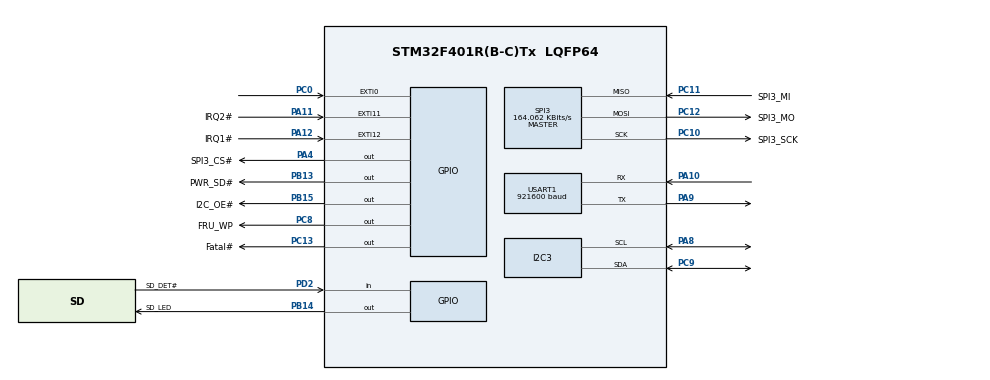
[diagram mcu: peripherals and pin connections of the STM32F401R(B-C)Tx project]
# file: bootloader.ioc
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Mcu.Family=STM32F4
Mcu.Name=STM32F401R(B-C)Tx
Mcu.Package=LQFP64
NVIC.EXTI15_10_IRQn=true\:6\:0\:true\:false\:true\:true\:true\:true
NVIC.I2C3_ER_IRQn=true\:0\:0\:false\:false\:true\:true\:true\:true
NVIC.I2C3_EV_IRQn=true\:0\:0\:false\:false\:true\:true\:true\:true
NVIC.PriorityGroup=NVIC_PRIORITYGROUP_4
PA0-WKUP.GPIO_Label=M1_A
PA0-WKUP.GPIO_PuPd=GPIO_PULLUP
PA0-WKUP.Signal=S_TIM5_CH1
PA1.GPIO_Label=M1_B
PA1.GPIO_PuPd=GPIO_PULLUP
PA1.Signal=S_TIM5_CH2
PA10.Mode=Asynchronous
PA10.Signal=USART1_RX
PA11.GPIO_Label=IRQ2\#
PA11.GPIO_ModeDefaultEXTI=GPIO_MODE_IT_FALLING
PA11.Signal=GPXTI11
PA12.GPIO_Label=IRQ1\#
PA12.GPIO_ModeDefaultEXTI=GPIO_MODE_IT_FALLING
PA12.Signal=GPXTI12
PA13.Mode=Serial_Wire
PA13.Signal=SYS_JTMS-SWDIO
PA14.Mode=Serial_Wire
PA14.Signal=SYS_JTCK-SWCLK
PA15.GPIO_Label=M3_PWM
PA15.GPIO_PuPd=GPIO_PULLDOWN
PA15.Signal=S_TIM2_CH1_ETR
PA3.GPIO_Label=M6_PWM
PA3.GPIO_PuPd=GPIO_PULLDOWN
PA3.Signal=S_TIM2_CH4
PA4.GPIO_Label=SPI3_CS\#
PA4.PinState=GPIO_PIN_SET
PA4.Signal=GPIO_Output
PA6.Signal=ADCx_IN6
PA8.Mode=I2C
PA8.Signal=I2C3_SCL
PA9.Mode=Asynchronous
PA9.Signal=USART1_TX
PB0.Signal=ADCx_IN8
PB1.GPIO_Label=FAN_PWM
PB1.GPIO_PuPd=GPIO_PULLDOWN
PB1.Signal=TIM1_CH3N
PB10.GPIO_Label=M5_PWM
PB10.GPIO_PuPd=GPIO_PULLDOWN
PB10.Signal=S_TIM2_CH3
PB13.GPIO_Label=PWR_SD\#
PB13.GPIO_PuPd=GPIO_NOPULL
PB13.Signal=GPIO_Output
PB14.GPIO_Label=SD_LED
PB14.Signal=GPIO_Output
PB15.GPIO_Label=I2C_OE\#
PB15.Signal=GPIO_Output
PB3.GPIO_Label=M4_PWM
PB3.GPIO_PuPd=GPIO_PULLDOWN
PB3.Signal=S_TIM2_CH2
PB4.GPIO_Label=M2_A
PB4.GPIO_PuPd=GPIO_PULLUP
PB4.Signal=S_TIM3_CH1
PB5.GPIO_Label=M2_B
PB5.GPIO_PuPd=GPIO_PULLUP
PB5.Signal=S_TIM3_CH2
PB6.GPIO_Label=M1_PWM
PB6.GPIO_PuPd=GPIO_PULLDOWN
PB6.Signal=S_TIM4_CH1
PB7.GPIO_PuPd=GPIO_PULLDOWN
PB7.Signal=S_TIM4_CH2
PB8.GPIO_Label=M2_PWM
PB8.GPIO_PuPd=GPIO_PULLDOWN
PB8.Signal=S_TIM4_CH3
PC0.Signal=GPXTI0
PC10.GPIO_Label=SPI3_SCK
PC10.Mode=Full_Duplex_Master
PC10.Signal=SPI3_SCK
PC11.GPIO_Label=SPI3_MI
PC11.Mode=Full_Duplex_Master
PC11.Signal=SPI3_MISO
PC12.GPIO_Label=SPI3_MO
PC12.Mode=Full_Duplex_Master
PC12.Signal=SPI3_MOSI
PC13-ANTI_TAMP.GPIO_Label=Fatal\#
PC13-ANTI_TAMP.Signal=GPIO_Output
PC14-OSC32_IN.Mode=LSE-External-Oscillator
PC14-OSC32_IN.Signal=RCC_OSC32_IN
PC15-OSC32_OUT.Mode=LSE-External-Oscillator
PC15-OSC32_OUT.Signal=RCC_OSC32_OUT
PC3.Signal=ADCx_IN13
PC4.Signal=ADCx_IN14
PC5.Signal=ADCx_IN15
PC8.GPIO_Label=FRU_WP
PC8.Signal=GPIO_Output
PC9.Mode=I2C
PC9.Signal=I2C3_SDA
PD2.GPIO_Label=SD_DET\#
PD2.GPIO_PuPd=GPIO_PULLUP
PD2.Signal=GPIO_Input
PH0\ -\ OSC_IN.Mode=HSE-External-Clock-Source
PH0\ -\ OSC_IN.Signal=RCC_OSC_IN
PH1\ -\ OSC_OUT.Mode=HSE-External-Clock-Source
PH1\ -\ OSC_OUT.Signal=RCC_OSC_OUT
ProjectManager.HeapSize=0x400
ProjectManager.StackSize=0x800
ProjectManager.TargetToolchain=CMake
RCC.48MHZClocksFreq_Value=48000000
RCC.AHBFreq_Value=84000000
RCC.APB1CLKDivider=RCC_HCLK_DIV2
RCC.APB1Freq_Value=42000000
RCC.APB1TimFreq_Value=84000000
RCC.APB2Freq_Value=84000000
RCC.APB2TimFreq_Value=84000000
RCC.CortexFreq_Value=84000000
RCC.HCLKFreq_Value=84000000
RCC.HSE_VALUE=8000000
RCC.HSI_VALUE=16000000
RCC.PLLM=8
RCC.PLLN=336
RCC.PLLP=RCC_PLLP_DIV4
RCC.PLLQ=7
RCC.PLLSourceVirtual=RCC_PLLSOURCE_HSE
RCC.RCC_RTC_Clock_Source=RCC_RTCCLKSOURCE_LSE
RCC.RCC_RTC_Clock_SourceVirtual=RCC_RTCCLKSOURCE_LSE
RCC.SYSCLKFreq_VALUE=84000000
RCC.SYSCLKSource=RCC_SYSCLKSOURCE_PLLCLK
RCC.VCOOutputFreq_Value=336000000
SH.ADCx_IN13.0=ADC1_IN13
SH.ADCx_IN14.0=ADC1_IN14
SH.ADCx_IN15.0=ADC1_IN15
SH.ADCx_IN6.0=ADC1_IN6
SH.ADCx_IN8.0=ADC1_IN8
SH.S_TIM2_CH1_ETR.0=TIM2_CH1
SH.S_TIM2_CH2.0=TIM2_CH2
SH.S_TIM2_CH3.0=TIM2_CH3
SH.S_TIM2_CH4.0=TIM2_CH4
SH.S_TIM3_CH1.0=TIM3_CH1
SH.S_TIM3_CH2.0=TIM3_CH2
SH.S_TIM4_CH1.0=TIM4_CH1
SH.S_TIM4_CH2.0=TIM4_CH2
SH.S_TIM4_CH3.0=TIM4_CH3
SH.S_TIM5_CH1.0=TIM5_CH1
SH.S_TIM5_CH2.0=TIM5_CH2
SPI3.BaudRatePrescaler=SPI_BAUDRATEPRESCALER_256
SPI3.CLKPhase=SPI_PHASE_2EDGE
SPI3.CLKPolarity=SPI_POLARITY_HIGH
SPI3.CalculateBaudRate=164.062 KBits/s
SPI3.Direction=SPI_DIRECTION_2LINES
SPI3.Mode=SPI_MODE_MASTER
SPI3.VirtualType=VM_MASTER
USART1.BaudRate=921600
USART1.VirtualMode=VM_ASYNC
VP_FATFS_VS_Generic.Mode=User_defined
board=custom

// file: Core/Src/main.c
/* USER CODE BEGIN Header */
/**
  ******************************************************************************
  * @file           : main.c
  * @brief          : Main program body
  ******************************************************************************
  * @attention
  *
  * Copyright (c) 2025 STMicroelectronics.
  * All rights reserved.
  *
  * This software is licensed under terms that can be found in the LICENSE file
  * in the root directory of this software component.
  * If no LICENSE file comes with this software, it is provided AS-IS.
  *
  ******************************************************************************
  */
/* USER CODE END Header */
#include "main.h"
#include "fatfs.h"
#include "i2c.h"
#include "spi.h"
#include "usart.h"
#include "gpio.h"

/* USER CODE BEGIN Includes */
#include <string.h>
#include "mbedtls/pk.h"
#include "mbedtls/ecdsa.h"
#include "mbedtls/ecp.h"
#include "mbedtls/sha256.h"
#include "mbedtls/md.h"
/* USER CODE END Includes */

/* USER CODE BEGIN PTD */
typedef void (*pFunction)(void);
typedef struct {
  uint32_t SectorAddress;
  uint32_t SectorSize;
} FlashSectorInfo;
/* USER CODE END PTD */

/* USER CODE BEGIN PD */
#define USER_APP_ADDRESS    0x08020000
#define READ_BUFFER_SIZE    0x1000  // 4KB
#define FW_UPDATE_FILE_NAME "app.bin"

#define SECTOR_COUNT (uint32_t)(sizeof(stm32F4SectorMap) / sizeof(FlashSectorInfo))
/* USER CODE END PD */

/* USER CODE BEGIN PV */
extern FATFS USERFatFS;
extern char USERPath[4];
const FlashSectorInfo stm32F4SectorMap[] = {
  {0x08000000, 0x04000},
  {0x08004000, 0x04000},
  {0x08008000, 0x04000},
  {0x0800C000, 0x04000},
  {0x08010000, 0x10000},
  {0x08020000, 0x20000},
  {0x08040000, 0x20000},
  {0x08060000, 0x20000},
  {0x08080000, 0x20000},
  {0x080A0000, 0x20000},
  {0x080C0000, 0x20000},
  {0x080E0000, 0x20000},
};
/* USER CODE END PV */

void SystemClock_Config(void);
/* USER CODE BEGIN PFP */
HAL_StatusTypeDef UpdateFW(void);
void Test_ECDSA_Verify(void);
/* USER CODE END PFP */

int main(void)
{

  /* MCU Configuration--------------------------------------------------------*/

  /* Reset of all peripherals, Initializes the Flash interface and the Systick. */
  HAL_Init();

  /* Configure the system clock */
  SystemClock_Config();

  /* Initialize all configured peripherals */
  MX_GPIO_Init();
  MX_I2C3_Init();
  MX_USART1_UART_Init();
  MX_SPI3_Init();
  MX_FATFS_Init();
  /* USER CODE BEGIN 2 */
  printf("bootloader %s Start, Build@%s [%s]\r\n", __func__, __DATE__, __TIME__);
  Test_ECDSA_Verify();
  if(LL_GPIO_IsInputPinSet(SD_DET__GPIO_Port, SD_DET__Pin) == 0){
    UpdateFW();
  }else{
    printf("SD card not detected\r\n");
  }

  __disable_irq();
  if (((*(__IO uint32_t*)USER_APP_ADDRESS) & 0x2FFE0000 ) == 0x20000000)
  {
    pFunction application;
    printf("MSP: 0x%08lX\r\n", *(uint32_t*)USER_APP_ADDRESS);
    printf("ResetHandler: 0x%08lX\r\n", *(uint32_t*)(USER_APP_ADDRESS + 4));
    printf("Execute user Program\r\n");
    HAL_SPI_MspDeInit(&hspi3);
    LL_GPIO_DeInit(GPIOC);
    LL_GPIO_DeInit(GPIOH);
    LL_GPIO_DeInit(GPIOA);
    LL_GPIO_DeInit(GPIOB);
    LL_GPIO_DeInit(GPIOD);
    HAL_UART_MspDeInit(&huart1);
    LL_RCC_DeInit();

    // __set_BASEPRI (0x20);
    // __set_PRIMASK (1);
    // __set_FAULTMASK (1);
    // for(uint8_t i=0; i<8; i++){
    //   NVIC->ICER [i] =0xFFFFFFFF;
    //   NVIC->ICPR [i] =0xFFFFFFFF;
    // }
    // SysTick->CTRL = 0;
    // SysTick->LOAD = 0;
    // SysTick->VAL = 0;
    // __set_BASEPRI (0);
    // __set_PRIMASK (0);
    // __set_FAULTMASK (0);

    __set_CONTROL(0);
    __set_MSP(*(__IO uint32_t*) USER_APP_ADDRESS);
    __ISB();
    application = (pFunction) * (__IO uint32_t*) (USER_APP_ADDRESS + 4);
    application();
  }
  else
  {
    printf("No user Program\r\n");
  }
  /* USER CODE END 2 */

  /* Infinite loop */
  while (1)
  {

  }
}

void SystemClock_Config(void)
{
  LL_FLASH_SetLatency(LL_FLASH_LATENCY_2);
  while(LL_FLASH_GetLatency()!= LL_FLASH_LATENCY_2)
  {
  }
  LL_PWR_SetRegulVoltageScaling(LL_PWR_REGU_VOLTAGE_SCALE2);
  LL_RCC_HSE_EnableBypass();
  LL_RCC_HSE_Enable();

   /* Wait till HSE is ready */
  while(LL_RCC_HSE_IsReady() != 1)
  {

  }
  LL_RCC_PLL_ConfigDomain_SYS(LL_RCC_PLLSOURCE_HSE, LL_RCC_PLLM_DIV_8, 336, LL_RCC_PLLP_DIV_4);
  LL_RCC_PLL_Enable();

   /* Wait till PLL is ready */
  while(LL_RCC_PLL_IsReady() != 1)
  {

  }
  while (LL_PWR_IsActiveFlag_VOS() == 0)
  {
  }
  LL_RCC_SetAHBPrescaler(LL_RCC_SYSCLK_DIV_1);
  LL_RCC_SetAPB1Prescaler(LL_RCC_APB1_DIV_2);
  LL_RCC_SetAPB2Prescaler(LL_RCC_APB2_DIV_1);
  LL_RCC_SetSysClkSource(LL_RCC_SYS_CLKSOURCE_PLL);

   /* Wait till System clock is ready */
  while(LL_RCC_GetSysClkSource() != LL_RCC_SYS_CLKSOURCE_STATUS_PLL)
  {

  }
  LL_SetSystemCoreClock(84000000);

   /* Update the time base */
  if (HAL_InitTick (TICK_INT_PRIORITY) != HAL_OK)
  {
    Error_Handler();
  }
  LL_RCC_SetTIMPrescaler(LL_RCC_TIM_PRESCALER_TWICE);
}

/* USER CODE BEGIN 4 */
HAL_StatusTypeDef UpdateFW(void) {
  FIL fwUpdateFile;
  FRESULT res;
  UINT br;
  HAL_StatusTypeDef status = HAL_OK;
  uint8_t buffer[READ_BUFFER_SIZE];  // 4KB buffer
  FILINFO fno;
  uint32_t fwFileSize;

  printf("Updating firmware...\r\n");

  if (f_mount(&USERFatFS, (TCHAR const*)USERPath, 0) != FR_OK) {
    printf("FatFs Initialization Error\r\n");
    Error_Handler();
  }

  if (f_open(&fwUpdateFile, FW_UPDATE_FILE_NAME, FA_READ) != FR_OK) {
    printf("Failed to open %s\r\n", FW_UPDATE_FILE_NAME);
    Error_Handler();
  }

  f_stat(FW_UPDATE_FILE_NAME, &fno);
  fwFileSize = fno.fsize;
  uint32_t appEnd = USER_APP_ADDRESS + fwFileSize;
  printf("Firmware[%s] size: 0x%08lX Byte\r\n", FW_UPDATE_FILE_NAME, fwFileSize);
  for (uint32_t sectorIndex = 0; sectorIndex < SECTOR_COUNT; ++sectorIndex) {
    uint32_t sectorAddr = stm32F4SectorMap[sectorIndex].SectorAddress;
    uint32_t sectorSize = stm32F4SectorMap[sectorIndex].SectorSize;

    if (sectorAddr + sectorSize <= USER_APP_ADDRESS) {
      continue;
    }

    if (sectorAddr >= appEnd) {
      printf("Firmware update complete\r\n");
      break;
    }

    uint32_t fileOffset = sectorAddr - USER_APP_ADDRESS;
    res = f_lseek(&fwUpdateFile, fileOffset);
    if (res != FR_OK) break;

    uint8_t needUpdate = 0;

    for (uint32_t offset = 0; offset < sectorSize; offset += READ_BUFFER_SIZE) {
      uint32_t readSize = (sectorSize - offset > READ_BUFFER_SIZE) ? READ_BUFFER_SIZE : (sectorSize - offset);
      if ((sectorAddr + offset) >= appEnd) break;
      res = f_read(&fwUpdateFile, buffer, readSize, &br);
      if (res != FR_OK || br == 0) break;

      for (uint32_t i = 0; i < br; i += sizeof(uint32_t)) {
        uint32_t fileData = *((uint32_t*)(buffer + i));
        uint32_t flashData = *((uint32_t*)(sectorAddr + offset + i));
        if (fileData != flashData) {
          needUpdate = 1;
          break;
        }
      }

      if (needUpdate) break;
    }

    if (needUpdate) {
      uint32_t sectorError = 0;
      FLASH_EraseInitTypeDef eraseInit = {
        .TypeErase = FLASH_TYPEERASE_SECTORS,
        .VoltageRange = FLASH_VOLTAGE_RANGE_3,
        .Sector = FLASH_SECTOR_0 + sectorIndex,
        .NbSectors = 1
      };

      printf("Need Update 0x%08lX ~ 0x%08lX\r\n",
        sectorAddr,
        sectorAddr + sectorSize);
      HAL_FLASH_Unlock();
      status = HAL_FLASHEx_Erase(&eraseInit, &sectorError);
      HAL_FLASH_Lock();

      if (status != HAL_OK) {
        printf("Erase failed at sector %lu (error sector: %lu)\r\n", sectorIndex, sectorError);
        break;
      }

      printf("Erased sector at 0x%08lX\r\n", sectorAddr);

      f_lseek(&fwUpdateFile, fileOffset);
      HAL_FLASH_Unlock();

      for (uint32_t offset = 0; offset < sectorSize; offset += READ_BUFFER_SIZE) {
        uint32_t writeSize = (sectorSize - offset > READ_BUFFER_SIZE) ? READ_BUFFER_SIZE : (sectorSize - offset);
        if ((sectorAddr + offset) >= appEnd) break;

        res = f_read(&fwUpdateFile, buffer, writeSize, &br);
        if (res != FR_OK || br == 0) break;
        printf("Written 0x%08lX ~ 0x%08lX",
          sectorAddr + offset,
          sectorAddr + offset + br);
        for (uint32_t i = 0; i < br; i += sizeof(uint32_t)) {
          uint32_t data = *((uint32_t*)(buffer + i));
          status = HAL_FLASH_Program(FLASH_TYPEPROGRAM_WORD, sectorAddr + offset + i, data);
          if (status != HAL_OK) break;
        }
        if(status != HAL_OK){
          printf("[FAILED]\r\n");
          break;
        }
        printf("[OK]\r\n");
      }

      HAL_FLASH_Lock();

      if (status == HAL_OK)
        printf("Sector 0x%08lX [%lu bytes] complete\r\n", sectorAddr, sectorSize);
      else
        printf("Sector 0x%08lX write failed\r\n", sectorAddr);
    } else {
      printf("Skip sector at 0x%08lX (No change)\r\n", sectorAddr);
    }
  }

  f_close(&fwUpdateFile);
  return status;
}

// Private key
// -----BEGIN EC PRIVATE KEY-----
// MHcCAQEEIHUdofRp8ZW1ypw8enFmC3yE0mFgHqcRIqDdan+2LrPooAoGCCqGSM49
// AwEHoUQDQgAE13leKg2pPD1VyWlHaMAwoaNuVq23WvkW+hFNfiA/ljV31mZWZNph
// xzkrOO4mx+KRYd/xcep6Bnapiv+8P0zLWg==
// -----END EC PRIVATE KEY-----

void Test_ECDSA_Verify(void) {
  const uint8_t message[] = "Hello STM32 + mbedTLS!";
  const uint8_t publicKey[] ={
    "-----BEGIN PUBLIC KEY-----\r\n"
    "MFkwEwYHKoZIzj0CAQYIKoZIzj0DAQcDQgAE13leKg2pPD1VyWlHaMAwoaNuVq23\r\n"
    "WvkW+hFNfiA/ljV31mZWZNphxzkrOO4mx+KRYd/xcep6Bnapiv+8P0zLWg==\r\n"
    "-----END PUBLIC KEY-----\r\n"
  };
  //ASN.1 DER format
  const uint8_t signature[] = {
    0x30, 0x45, 0x02, 0x21, 0x00, 0xf5, 0x31, 0x32, 0x4f, 0xd3, 0xec, 0xb4,
    0x55, 0xf0, 0x9d, 0xa6, 0x4c, 0x63, 0x76, 0xd1, 0xd7, 0xa9, 0x54, 0x68,
    0x27, 0x67, 0xe5, 0xc9, 0x5a, 0x2b, 0x09, 0x57, 0xce, 0xb4, 0xc3, 0x93,
    0x7a, 0x02, 0x20, 0x5e, 0xc4, 0xcb, 0xe4, 0x3d, 0x7a, 0x94, 0x3d, 0xd5,
    0xd2, 0x8b, 0x80, 0xbf, 0xb4, 0xac, 0x3b, 0x3c, 0xa0, 0x2a, 0x7d, 0x02,
    0xde, 0x76, 0x11, 0xf5, 0x99, 0xa6, 0x20, 0xaf, 0x8d, 0x95, 0x94
  };
  const uint8_t signature_rs[64] = {
    // r (32 bytes)
    0xf5, 0x31, 0x32, 0x4f, 0xd3, 0xec, 0xb4, 0x55, 0xf0, 0x9d, 0xa6, 0x4c, 0x63, 0x76, 0xd1, 0xd7,
    0xa9, 0x54, 0x68, 0x27, 0x67, 0xe5, 0xc9, 0x5a, 0x2b, 0x09, 0x57, 0xce, 0xb4, 0xc3, 0x93, 0x7a,
    // s (32 bytes)
    0x5e, 0xc4, 0xcb, 0xe4, 0x3d, 0x7a, 0x94, 0x3d, 0xd5, 0xd2, 0x8b, 0x80, 0xbf, 0xb4, 0xac, 0x3b,
    0x3c, 0xa0, 0x2a, 0x7d, 0x02, 0xde, 0x76, 0x11, 0xf5, 0x99, 0xa6, 0x20, 0xaf, 0x8d, 0x95, 0x94
  };

  int ret;
  uint8_t hash[32];
  mbedtls_pk_context ctx;

  // Initialize the public key context
  mbedtls_pk_init(&ctx);
  ret = mbedtls_pk_parse_public_key(&ctx, publicKey, sizeof(publicKey));
  if (ret != 0) {
    printf("Failed to parse public key! mbedtls error: -0x%04X\r\n", -ret);
    return;
  }

  // Calculate hash of the message
  const mbedtls_md_info_t *md_info;

  md_info = mbedtls_md_info_from_string("SHA256");

  mbedtls_md(md_info, message, strlen((const char*)message), hash);
  // mbedtls_sha256(message, strlen((const char*)message), hash, 0);
  printf("Hash = ");
  for (int i = 0; i < 32; i++) printf("%02X", hash[i]);
  printf("\r\n");

  // Verify signature
  ret = mbedtls_pk_verify(
    &ctx,
    MBEDTLS_MD_SHA256,
    hash, sizeof(hash),
    signature, sizeof(signature));
  if (ret == 0) {
    printf("ECDSA signature is VALID!\r\n");
  } else {
    printf("ECDSA signature is INVALID! mbedtls error: -0x%04X\r\n", -ret);
  }
  mbedtls_ecdsa_context ecdsa;

  mbedtls_ecdsa_init(&ecdsa);
  mbedtls_ecdsa_from_keypair(&ecdsa, ctx.pk_ctx);
  mbedtls_mpi r, s;
  mbedtls_mpi_init(&r);
  mbedtls_mpi_init(&s);

  mbedtls_mpi_read_binary(&r, signature_rs, 32);
  mbedtls_mpi_read_binary(&s, signature_rs + 32, 32);
  ret = mbedtls_ecdsa_verify(&ecdsa.grp, hash, sizeof(hash), &ecdsa.Q, &r, &s);
  if (ret == 0) {
    printf("ECDSA signature (RS) is VALID!\r\n");
  } else {
    printf("ECDSA signature (RS) is INVALID! -0x%04X\r\n", -ret);
  }

  mbedtls_pk_free(&ctx);
}
/* USER CODE END 4 */

void Error_Handler(void)
{
  __disable_irq();
  while (1)
  {
  }
}

#ifdef  USE_FULL_ASSERT
/**
  * @brief  Reports the name of the source file and the source line number
  *         where the assert_param error has occurred.
  * @param  file: pointer to the source file name
  * @param  line: assert_param error line source number
  * @retval None
  */
void assert_failed(uint8_t *file, uint32_t line)
{
  /* USER CODE BEGIN 6 */
  printf("Wrong parameters value: file %s on line %ld\r\n", file, line);
  /* USER CODE END 6 */
}
#endif /* USE_FULL_ASSERT */
